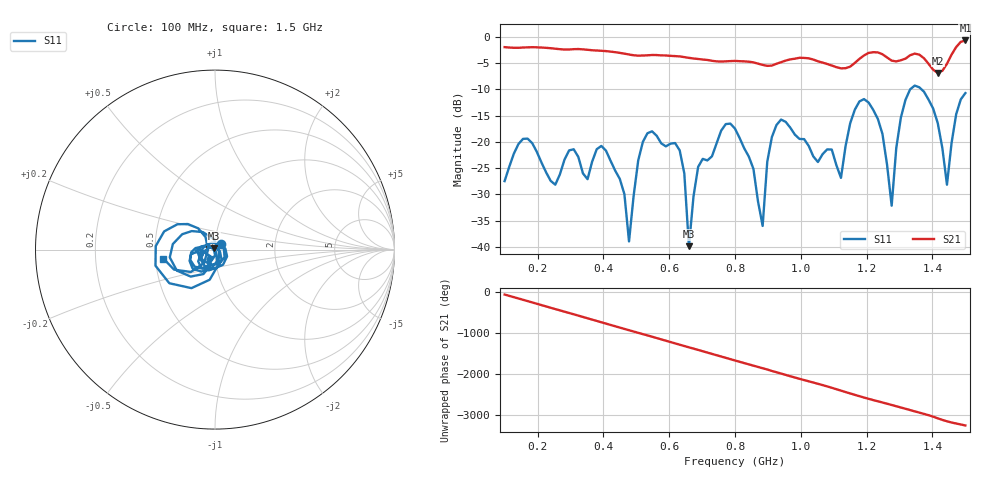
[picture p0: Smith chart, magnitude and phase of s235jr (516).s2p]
! NanoVNA-App
! Date: 2025-09-25 15:08:11
! Start: 100MHz Stop: 1,5GHz Points: 101
! S-Parameter data: F S11 S21 S12 S22
# Hz S RI R 50
!  Frequency  S11_Real  S11_Imag  S21_Real  S21_Imag  S12_Real  S12_Imag  S22_Real  S22_Imag
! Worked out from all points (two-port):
!   101 points, 100 MHz to 1.5 GHz, reference 50 ohm
!   highest |S21| = -0.69 dB at 1.5 GHz (marker M1); lowest = -6.9 dB at 1.416 GHz (marker M2)
!   |S21| within 3 dB of the highest: start of sweep to 622.7 MHz; 1.189 GHz to 1.256 GHz (67.66 MHz wide, 5.53 % of centre) (the widest 2 of 4)
!   lowest |S11| = -39.8 dB at 660 MHz (marker M3), VSWR 1.02, Z = 49.2 + j0.608 ohm
!   |S11| at or under -10 dB: start of sweep to 1.332 GHz; 1.367 GHz to end of sweep
!   S12 and S22 are empty: the file has one direction only
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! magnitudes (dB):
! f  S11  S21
! 100 MHz  -27.5  -2.0
! 156 MHz  -19.4  -2.0
! 338 MHz  -26.0  -2.4
! 408 MHz  -21.7  -2.7
! 478 MHz  -38.9  -3.4
! 520 MHz  -20.0  -3.6
! 576 MHz  -20.3  -3.5
! 632 MHz  -21.6  -3.7
! 660 MHz  -39.8  -4.0
! 688 MHz  -24.8  -4.2
! 800 MHz  -17.5  -4.6
! 884 MHz  -36.0  -5.3
! 926 MHz  -16.8  -5.1
! 1.038 GHz  -22.8  -4.3
! 1.122 GHz  -26.8  -6.0
! 1.192 GHz  -11.8  -3.5
! 1.248 GHz  -18.5  -3.3
! 1.276 GHz  -32.1  -4.5
! 1.332 GHz  -10.0  -3.5
! 1.416 GHz  -16.4  -6.9
! 1.444 GHz  -28.1  -5.1
! 1.5 GHz  -10.7  -0.7
